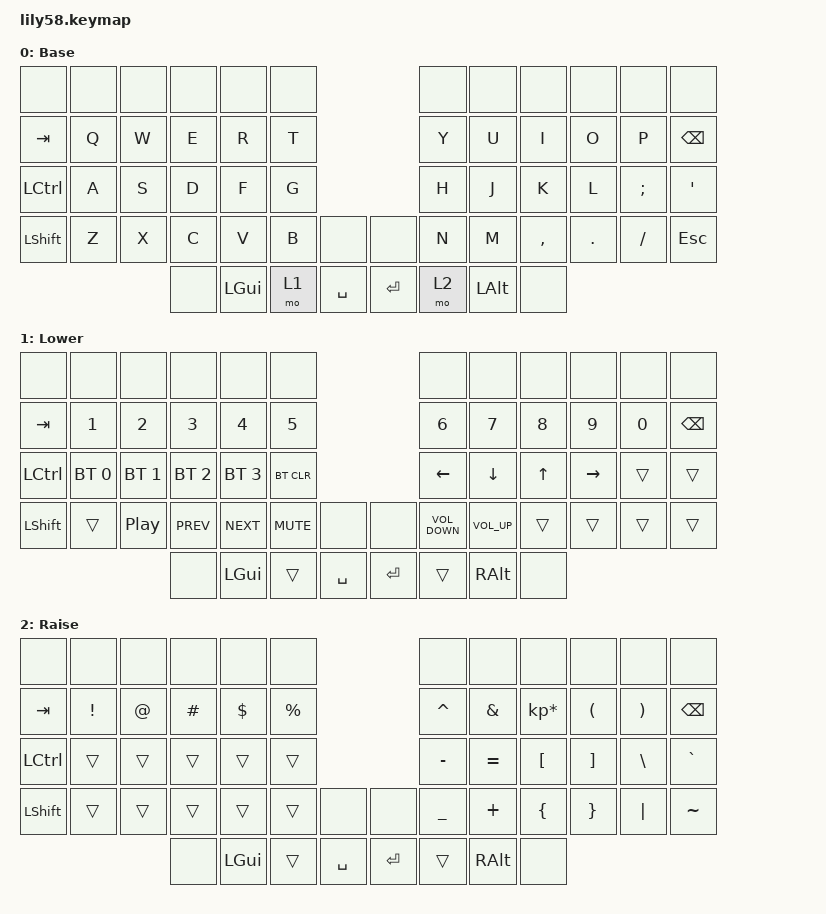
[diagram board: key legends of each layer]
/*
 * Copyright (c) 2020 The ZMK Contributors
 *
 * SPDX-License-Identifier: MIT
 */

#include <behaviors.dtsi>
#include <dt-bindings/zmk/bt.h>
#include <dt-bindings/zmk/keys.h>

/ {
    keymap {
        compatible = "zmk,keymap";

        default_layer {
            label = "Base";
            bindings = <
&none      &none  &none  &none  &none     &none                        &none  &none     &none      &none    &none     &none
&kp TAB    &kp Q  &kp W  &kp E  &kp R     &kp T                        &kp Y  &kp U     &kp I      &kp O    &kp P     &kp BACKSPACE
&kp LCTRL  &kp A  &kp S  &kp D  &kp F     &kp G                        &kp H  &kp J     &kp K      &kp L    &kp SEMI  &kp SQT
&kp LSHFT  &kp Z  &kp X  &kp C  &kp V     &kp B  &none        &none    &kp N  &kp M     &kp COMMA  &kp DOT  &kp FSLH  &kp ESCAPE
                         &none  &kp LGUI  &mo 1  &kp SPACE    &kp RET  &mo 2  &kp LALT  &none
            >;
        };

        lower_layer {
            label = "Lower";
            bindings = <
&none      &none         &none         &none         &none         &none                             &none              &none         &none   &none      &none   &none
&kp TAB    &kp N1        &kp N2        &kp N3        &kp N4        &kp N5                            &kp N6             &kp N7        &kp N8  &kp N9     &kp N0  &kp BSPC
&kp LCTRL  &bt BT_SEL 0  &bt BT_SEL 1  &bt BT_SEL 2  &bt BT_SEL 3  &bt BT_CLR                        &kp LEFT           &kp DOWN      &kp UP  &kp RIGHT  &trans  &trans
&kp LSHFT  &trans        &kp C_PP      &kp C_PREV    &kp C_NEXT    &kp K_MUTE  &none        &none    &kp K_VOLUME_DOWN  &kp K_VOL_UP  &trans  &trans     &trans  &trans
                                       &none         &kp LGUI      &trans      &kp SPACE    &kp RET  &trans             &kp RALT      &none
            >;
        };

        raise_layer {
            label = "Raise";
            bindings = <
&none      &none     &none   &none     &none     &none                            &none      &none      &none            &none     &none     &none
&kp TAB    &kp EXCL  &kp AT  &kp HASH  &kp DLLR  &kp PRCNT                        &kp CARET  &kp AMPS   &kp KP_MULTIPLY  &kp LPAR  &kp RPAR  &kp BSPC
&kp LCTRL  &trans    &trans  &trans    &trans    &trans                           &kp MINUS  &kp EQUAL  &kp LBKT         &kp RBKT  &kp BSLH  &kp GRAVE
&kp LSHFT  &trans    &trans  &trans    &trans    &trans     &none        &none    &kp UNDER  &kp PLUS   &kp LBRC         &kp RBRC  &kp PIPE  &kp TILDE
                             &none     &kp LGUI  &trans     &kp SPACE    &kp RET  &trans     &kp RALT   &none
            >;
        };
    };

    conditional_layers { compatible = "zmk,conditional-layers"; };
};
